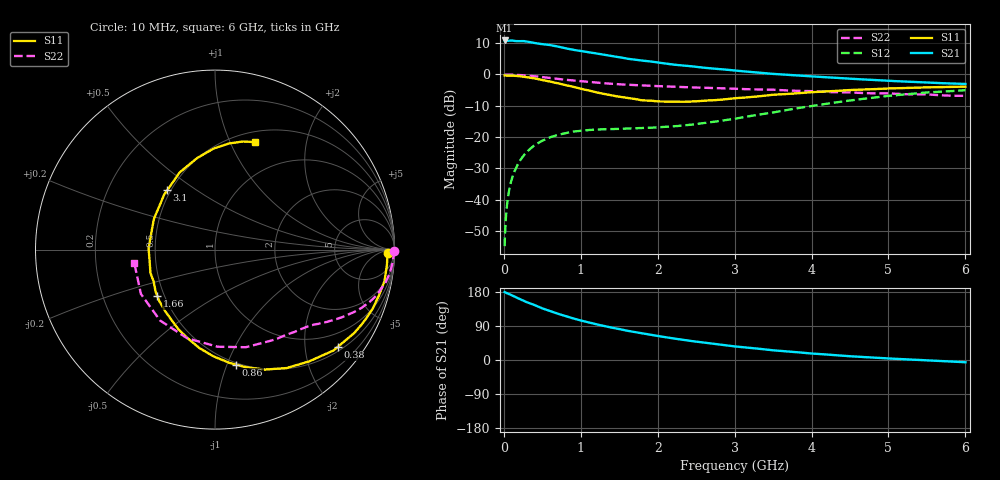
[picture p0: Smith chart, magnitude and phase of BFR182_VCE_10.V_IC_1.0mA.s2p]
! Infineon Technologies  Discrete & RF Semiconductors
! BFR182
! VCE =  10. V,  IC =  1.0 mA
! Common Emitter S-Parameters:  Nov 2015
# GHz  S  MA  R  50
!  f  S11  S21  S12  S22
! GHz  MAG  ANG  MAG  ANG  MAG  ANG  MAG  ANG
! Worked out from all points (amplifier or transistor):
!   210 points, 10 MHz to 6 GHz, reference 50 ohm
!   highest |S21| = 10.9 dB at 10 MHz (marker M1)
!   |S21| within 3 dB of that: start of sweep to 904 MHz
!   unconditionally stable (mu >= 1): 1.824 GHz to 3.346 GHz
!   at 185 MHz: K = 0.12, MSG = 19.6 dB, |S12| = -28.6 dB
!   at 1.52 GHz: K = 0.87, MSG = 11.4 dB, |S12| = -17.4 dB
!   at 6 GHz: K = 0.93, MSG = 1.0 dB, |S12| = -5.0 dB
!   S11 on the Smith chart (normalised r, x): 10 MHz: 46, -22; 380 MHz: 0.60, -2.75; 860 MHz: 0.48, -1.08; 1.66 GHz: 0.46, -0.28; 3.1 GHz: 0.48, +0.39; 6 GHz: 0.61, +1.24
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0.01  0.9653 -1.0  3.494 179.3  0.0018 89.9  0.9978 -0.4
0.02  0.9611 -2.1  3.473 178.0  0.0038 86.2  0.993 -0.9
0.04  0.9613 -4.2  3.459 176.3  0.008 86.3  0.9945 -1.7
0.065  0.9605 -6.8  3.463 174.2  0.0133 84.7  0.9943 -2.7
0.1  0.9605 -10.5  3.492 171.2  0.0207 82.9  0.9924 -4.2
0.165  0.9451 -16.9  3.414 164.6  0.0333 79.3  0.9839 -7.0
0.26  0.9176 -27.0  3.413 156.0  0.051 73.4  0.9683 -10.8
0.3  0.904 -31.0  3.364 152.4  0.0581 71.2  0.9584 -12.3
0.38  0.8725 -38.5  3.214 146.5  0.0709 66.5  0.9408 -15.0
0.5  0.8147 -49.8  3.051 136.2  0.0873 60.5  0.9089 -18.8
0.6  0.7715 -58.8  2.951 128.9  0.0989 56.0  0.8785 -21.7
0.7  0.7243 -67.4  2.797 122.2  0.108 52.5  0.8489 -24.2
0.86  0.6511 -79.7  2.533 112.3  0.1194 47.2  0.81 -27.3
1.02  0.5853 -92.5  2.354 103.3  0.1266 43.6  0.7752 -30.1
1.32  0.4833 -115.8  2.044 89.0  0.1333 39.7  0.7204 -34.5
1.66  0.4121 -141.4  1.75 75.2  0.1372 39.6  0.6793 -38.7
2.02  0.3706 -168.8  1.542 62.7  0.1431 42.7  0.6498 -43.2
2.4  0.3672 165.1  1.369 51.0  0.1555 48.4  0.6235 -49.0
3.1  0.4242 128.9  1.126 34.0  0.2059 55.7  0.5847 -62.4
4.1  0.5275 98.7  0.916 15.8  0.3269 53.1  0.532 -92.1
5.1  0.601 81.0  0.781 3.0  0.4657 40.0  0.4906 -131.9
6  0.639 69.6  0.705 -5.9  0.5597 24.0  0.4558 -170.4
